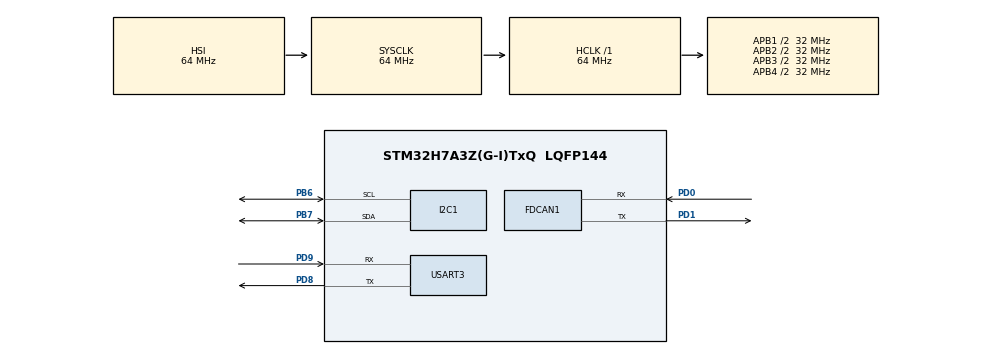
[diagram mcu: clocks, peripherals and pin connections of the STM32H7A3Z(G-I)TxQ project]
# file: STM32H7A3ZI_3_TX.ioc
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FDCAN1.AutoRetransmission=ENABLE
FDCAN1.DataSyncJumpWidth=4
FDCAN1.DataTimeSeg1=5
FDCAN1.DataTimeSeg2=4
FDCAN1.FrameFormat=FDCAN_FRAME_FD_NO_BRS
FDCAN1.NominalTimeSeg1=5
FDCAN1.RxBuffersNbr=1
FDCAN1.RxFifo0ElmtsNbr=1
FDCAN1.StdFiltersNbr=1
I2C1.Timing=0x00707CBB
Mcu.Family=STM32H7
Mcu.Name=STM32H7A3Z(G-I)TxQ
Mcu.Package=LQFP144
NVIC.PriorityGroup=NVIC_PRIORITYGROUP_4
PB6.Mode=I2C
PB6.Signal=I2C1_SCL
PB7.Mode=I2C
PB7.Signal=I2C1_SDA
PD0.Mode=FDCAN_Activate
PD0.Signal=FDCAN1_RX
PD1.Mode=FDCAN_Activate
PD1.Signal=FDCAN1_TX
PD8.Mode=Asynchronous
PD8.Signal=USART3_TX
PD9.Mode=Asynchronous
PD9.Signal=USART3_RX
PH0-OSC_IN.Mode=HSE-External-Oscillator
PH0-OSC_IN.Signal=RCC_OSC_IN
PH1-OSC_OUT.Mode=HSE-External-Oscillator
PH1-OSC_OUT.Signal=RCC_OSC_OUT
ProjectManager.HeapSize=0x200
ProjectManager.StackSize=0x400
ProjectManager.TargetToolchain=STM32CubeIDE
RCC.ADCFreq_Value=129000000
RCC.APB1Freq_Value=32000000
RCC.APB2Freq_Value=32000000
RCC.APB3Freq_Value=32000000
RCC.APB4Freq_Value=32000000
RCC.CDPPRE=RCC_APB3_DIV2
RCC.CDPPRE1=RCC_APB1_DIV2
RCC.CDPPRE2=RCC_APB2_DIV2
RCC.CortexFreq_Value=64000000
RCC.DIVM1=4
RCC.DIVN1=8
RCC.DIVQ1=32
RCC.HCLKFreq_Value=64000000
RCC.SRDPPRE=RCC_APB4_DIV2
RCC.SYSCLKFreq_VALUE=64000000
RCC.USBFreq_Value=4000000
USART3.VirtualMode-Asynchronous=VM_ASYNC
board=custom

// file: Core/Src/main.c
/* USER CODE BEGIN Header */
/**
  ******************************************************************************
  * @file           : main.c
  * @brief          : Main program body
  ******************************************************************************
  * @attention
  *
  * Copyright (c) 2023 STMicroelectronics.
  * All rights reserved.
  *
  * This software is licensed under terms that can be found in the LICENSE file
  * in the root directory of this software component.
  * If no LICENSE file comes with this software, it is provided AS-IS.
  *
  ******************************************************************************
  */
/* USER CODE END Header */
#include "main.h"
#include "fdcan.h"
#include "i2c.h"
#include "usart.h"
#include "gpio.h"

/* USER CODE BEGIN Includes */
#include "tfluna_i2c.h"
#include "stdio.h"
#include <stdbool.h>
#include <string.h>
/* USER CODE END Includes */

/* USER CODE BEGIN PM */
#ifdef __GNUC__
#define PUTCHAR_PROTOTYPE int __io_putchar(int ch)
#else
#define PUTCHAR_PROTOTYPE int fputc(int ch, FILE *f)
#endif

PUTCHAR_PROTOTYPE{
   HAL_UART_Transmit(&huart3, (uint8_t*)&ch, 1, 0xFFFF);
   return ch;
}
/* USER CODE END PM */

/* USER CODE BEGIN PV */
FDCAN_FilterTypeDef sFilterConfig;
/* USER CODE END PV */

void SystemClock_Config(void);

/* USER CODE BEGIN 0 */
FDCAN_FilterTypeDef sFilterConfig;
   FDCAN_TxHeaderTypeDef TxHeader;
   FDCAN_RxHeaderTypeDef RxHeader;
   uint8_t TxData_Node1_To_Node3[16];
   uint8_t TxData_Node3_To_Node2[16];
   uint8_t RxData_From_Node2[16];
   uint8_t RxData_From_Node3[16];

//int _write(int file, char *ptr, int len)
//{
//  /* Implement your write code here, this is used by puts and printf for example */
//  int i=0;
//  for(i=0 ; i<len ; i++)
//    ITM_SendChar((*ptr++));
//  return len;
//}

int _write(int file, unsigned char * p, int len){
	HAL_UART_Transmit(&huart3, p, len, 10);
	return len;
}

TF_Luna_Lidar TF_Luna_1;

int16_t  tfAddr = TFL_DEF_ADR;    // default I2C address
uint16_t tfFrame = TFL_DEF_FPS;   // default frame rate
int16_t  tfDist = 0 ;   // distance in centimeters

/* multi devices example:
 * Maybe 5 devices
 * int16_t tfDist[5]=0;
 *
 *
 *You should define other variables this way as well.
 *Example : tfFlux[5]=0;
 */

int16_t  tfFlux = 0 ;   // signal quality in arbitrary units
int16_t  tfTemp = 0 ;   // temperature in 0.01 degree Celsius

// other device variables
uint16_t tfTime = 0;    // devie clock in milliseconds

uint8_t  tfVer[3];      // device version number
/*multi devices example:
 * uint8_t  tfVer1[3];
 * uint8_t  tfVer2[3];
 * uint8_t  tfVer3[3];
 * uint8_t  tfVer4[3];
 */

uint8_t  tfCode[14];    // device serial number

// sub-loop counter for Time display
uint8_t tfCount = 0;

// FDCAN1 Callback
//void HAL_FDCAN_RxFifo0Callback(FDCAN_HandleTypeDef *hfdcan, uint32_t RxFifo0ITs)
//{
//
//  if((RxFifo0ITs & FDCAN_IT_RX_FIFO0_NEW_MESSAGE) != RESET)
//  {
//    /* Retreive Rx messages from RX FIFO0 */
//    if (HAL_FDCAN_GetRxMessage(hfdcan, FDCAN_RX_FIFO0, &RxHeader1, RxData_From_Node1) != HAL_OK)
//    {
//    /* Reception Error */
//    Error_Handler();
//    }
//
//    if (HAL_FDCAN_ActivateNotification(hfdcan, FDCAN_IT_RX_FIFO0_NEW_MESSAGE, 0) != HAL_OK)
//    {
//      /* Notification Error */
//      Error_Handler();
//    }
//  }
//}
void HAL_FDCAN_RxFifo0Callback(FDCAN_HandleTypeDef *hfdcan, uint32_t RxFifo0ITs)
{
//    printf("%s\r\n",);

//    HAL_Delay (1000);
   if(FDCAN1 == hfdcan->Instance){
  if((RxFifo0ITs & FDCAN_IT_RX_FIFO0_NEW_MESSAGE) != RESET)
  {

//       HAL_Delay (1000);
    /* Retreive Rx messages from RX FIFO0 */
     //?  기서?    ?????? ? RX FIFO0?   ?  ?   ?   ?????? ?? RxHeader ??????? 복사?   ??????? ?  ?  ?   ??????? RxData 배열 ??????? 복사?  ?  ?  .
    if (HAL_FDCAN_GetRxMessage(hfdcan, FDCAN_RX_FIFO0, &RxHeader, RxData_From_Node3) != HAL_OK)
    {
    /* Reception Error */
    Error_Handler();
    }
   }
   }

}
/* USER CODE END 0 */

int main(void)
{

  /* MCU Configuration--------------------------------------------------------*/

  /* Reset of all peripherals, Initializes the Flash interface and the Systick. */
  HAL_Init();

  /* USER CODE BEGIN Init */
  TF_Luna_init(&TF_Luna_1, &hi2c1, 0x10);
  /* USER CODE END Init */

  /* Configure the system clock */
  SystemClock_Config();

  /* Initialize all configured peripherals */
  MX_GPIO_Init();
  MX_I2C1_Init();
  MX_USART3_UART_Init();
  MX_FDCAN1_Init();
  /* USER CODE BEGIN 2 */

    /* multi devices example:
     *   If you want to connect more than one device,
     *   you must first connect them one by one and change their slave addresses.
     *   Each device must have a different address.
     *
     *   TF_Luna_init(&TF_Luna_2, &hi2c1, 0x11); // random address.
     *   TF_Luna_init(&TF_Luna_3, &hi2c1, 0x12);
     *   TF_Luna_init(&TF_Luna_4, &hi2c1, 0x13);
     *   TF_Luna_init(&TF_Luna_5, &hi2c1, 0x14);
     */
  int Dist1,Dist2,Dist3;

          Get_Frame_Rate( &TF_Luna_1,&tfFrame);
          Get_Firmware_Version(&TF_Luna_1, tfVer);
          Get_Prod_Code(&TF_Luna_1, tfCode);
          Get_Time(&TF_Luna_1, &tfTime);
    /* USER CODE END 2 */

    /* Infinite loop */
    /* USER CODE BEGIN WHILE */
    while (1)
    {
  	  getData(&TF_Luna_1, &tfDist, &tfFlux, &tfTemp);
  //	  printDataArray();
  //	  printf("%d",tfDist); // Open your SVW ITM Data Console
  	  	  HAL_Delay(100); // 250Hz
  	  if(tfDist > 200)
  	  {
  		  tfDist = 200;
  	  }
  	  Dist1= (tfDist-15) / 100;
  	  Dist2= ((tfDist-15) %100) /10;
  	  Dist3= (tfDist-15) % 10;
//  	memset(TxData_Node1_To_Node3, 0, sizeof(TxData_Node1_To_Node3));
//  	  	sprintf ((char *)TxData_Node1_To_Node3 + 2,"%d%d%d",Dist1,Dist2,Dist3);
  	sprintf ((char *)TxData_Node1_To_Node3 ,"%d%d%d",Dist1,Dist2,Dist3);
  //	  	sprintf ((char *)TxData_Node1_To_Node3, "1234");
  //	  	"%d",tfDist
  	  		  if (HAL_FDCAN_AddMessageToTxFifoQ(&hfdcan1, &TxHeader, TxData_Node1_To_Node3)!= HAL_OK)
  	  		              {
  //	  		                 Error_Handler();
  	  		              }
//	  		HAL_Delay(100);
//	  		     HAL_Delay (100);
    /* USER CODE END WHILE */

  }
}

void SystemClock_Config(void)
{
  RCC_OscInitTypeDef RCC_OscInitStruct = {0};
  RCC_ClkInitTypeDef RCC_ClkInitStruct = {0};

  /** Supply configuration update enable
  */
  HAL_PWREx_ConfigSupply(PWR_DIRECT_SMPS_SUPPLY);
  /** Configure the main internal regulator output voltage
  */
  __HAL_PWR_VOLTAGESCALING_CONFIG(PWR_REGULATOR_VOLTAGE_SCALE3);

  while(!__HAL_PWR_GET_FLAG(PWR_FLAG_VOSRDY)) {}
  /** Initializes the RCC Oscillators according to the specified parameters
  * in the RCC_OscInitTypeDef structure.
  */
  RCC_OscInitStruct.OscillatorType = RCC_OSCILLATORTYPE_HSI;
  RCC_OscInitStruct.HSIState = RCC_HSI_DIV1;
  RCC_OscInitStruct.HSICalibrationValue = RCC_HSICALIBRATION_DEFAULT;
  RCC_OscInitStruct.PLL.PLLState = RCC_PLL_ON;
  RCC_OscInitStruct.PLL.PLLSource = RCC_PLLSOURCE_HSI;
  RCC_OscInitStruct.PLL.PLLM = 4;
  RCC_OscInitStruct.PLL.PLLN = 8;
  RCC_OscInitStruct.PLL.PLLP = 2;
  RCC_OscInitStruct.PLL.PLLQ = 32;
  RCC_OscInitStruct.PLL.PLLR = 2;
  RCC_OscInitStruct.PLL.PLLRGE = RCC_PLL1VCIRANGE_3;
  RCC_OscInitStruct.PLL.PLLVCOSEL = RCC_PLL1VCOWIDE;
  RCC_OscInitStruct.PLL.PLLFRACN = 0;
  if (HAL_RCC_OscConfig(&RCC_OscInitStruct) != HAL_OK)
  {
    Error_Handler();
  }
  /** Initializes the CPU, AHB and APB buses clocks
  */
  RCC_ClkInitStruct.ClockType = RCC_CLOCKTYPE_HCLK|RCC_CLOCKTYPE_SYSCLK
                              |RCC_CLOCKTYPE_PCLK1|RCC_CLOCKTYPE_PCLK2
                              |RCC_CLOCKTYPE_D3PCLK1|RCC_CLOCKTYPE_D1PCLK1;
  RCC_ClkInitStruct.SYSCLKSource = RCC_SYSCLKSOURCE_HSI;
  RCC_ClkInitStruct.SYSCLKDivider = RCC_SYSCLK_DIV1;
  RCC_ClkInitStruct.AHBCLKDivider = RCC_HCLK_DIV1;
  RCC_ClkInitStruct.APB3CLKDivider = RCC_APB3_DIV2;
  RCC_ClkInitStruct.APB1CLKDivider = RCC_APB1_DIV2;
  RCC_ClkInitStruct.APB2CLKDivider = RCC_APB2_DIV2;
  RCC_ClkInitStruct.APB4CLKDivider = RCC_APB4_DIV2;

  if (HAL_RCC_ClockConfig(&RCC_ClkInitStruct, FLASH_LATENCY_2) != HAL_OK)
  {
    Error_Handler();
  }
}

void Error_Handler(void)
{
  __disable_irq();
  while (1)
  {
  }
}
